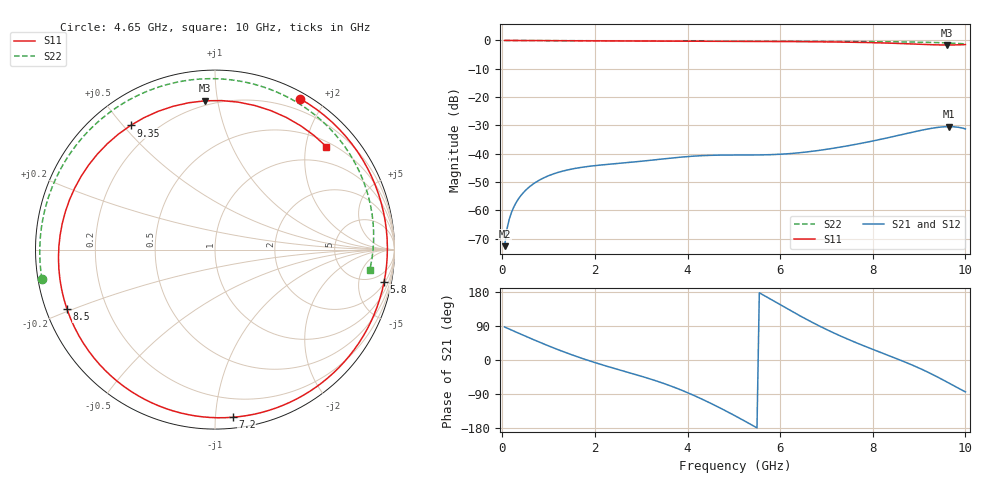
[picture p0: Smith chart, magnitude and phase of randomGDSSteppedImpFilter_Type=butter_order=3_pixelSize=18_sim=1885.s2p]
! freq	dB(S11)	phase(S11)	dB(S12)	phase(S12)
!  dB(S21)	phase(S21)	dB(S22)	phase(S22)
!S-par simulation data
#  GHz  S  DB  R 50
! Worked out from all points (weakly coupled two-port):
!   200 points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, 50 MHz to 10 GHz, reference 50 ohm
!   highest |S21| = -30.45 dB at 9.65 GHz (marker M1); lowest = -72.7 dB at 50 MHz (marker M2)
!   lowest |S11| = -1.6 dB at 9.6 GHz (marker M3), VSWR 10.82, Z = 8.61 + j46.1 ohm
!   |S11| at or under -10 dB: nowhere
!   |S22| runs from -1.2 to 0.0 dB; largest |S21 - S12| = 0
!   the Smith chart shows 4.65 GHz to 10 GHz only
!   S11 on the Smith chart (normalised r, x): 4.65 GHz: 0.07, +1.71; 5.8 GHz: 2, -10; 7.2 GHz: 0.07, -1.11; 8.5 GHz: 0.06, -0.19; 9.35 GHz: 0.11, +0.52; 10 GHz: 0.61, +2.43
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0.05  -0.00 -3.1  -72.69 87.2  -72.69 87.2  -0.00 -2.4
0.1  -0.01 -6.2  -66.68 84.4  -66.68 84.4  -0.01 -4.8
0.2  -0.02 -12.4  -60.71 79.0  -60.71 79.0  -0.01 -9.5
0.5  -0.04 -31.0  -53.00 62.9  -53.00 62.9  -0.03 -23.6
1.15  -0.09 -70.9  -46.90 29.9  -46.90 29.9  -0.07 -52.8
1.75  -0.13 -107.7  -44.74 3.2  -44.74 3.2  -0.09 -77.6
2.65  -0.20 -164.2  -43.23 -30.4  -43.23 -30.4  -0.12 -110.5
3.4  -0.24 146.3  -42.00 -58.2  -42.00 -58.2  -0.14 -134.6
4.05  -0.28 101.7  -40.97 -88.8  -40.97 -88.8  -0.17 -153.6
4.65  -0.31 60.7  -40.53 -123.3  -40.53 -123.3  -0.19 -170.3
5.05  -0.32 34.5  -40.48 -148.8  -40.48 -148.8  -0.21 178.8
5.8  -0.36 -10.9  -40.35 159.9  -40.35 159.9  -0.25 158.6
6.7  -0.45 -58.9  -39.15 98.8  -39.15 98.8  -0.31 133.4
7.2  -0.54 -84.0  -37.95 69.0  -37.95 69.0  -0.34 118.4
7.8  -0.71 -115.2  -36.18 37.7  -36.18 37.7  -0.40 98.9
8.35  -0.94 -147.8  -34.30 11.4  -34.30 11.4  -0.47 78.8
8.5  -1.02 -158.0  -33.75 4.3  -33.75 4.3  -0.49 72.9
8.95  -1.31 165.7  -32.08 -18.6  -32.08 -18.6  -0.59 53.4
9.35  -1.55 124.2  -30.84 -41.8  -30.84 -41.8  -0.73 33.4
9.6  -1.61 93.7  -30.46 -58.0  -30.46 -58.0  -0.87 19.1
9.65  -1.61 87.4  -30.45 -61.3  -30.45 -61.3  -0.90 16.1
10  -1.46 42.7  -31.26 -84.1  -31.26 -84.1  -1.21 -7.4
